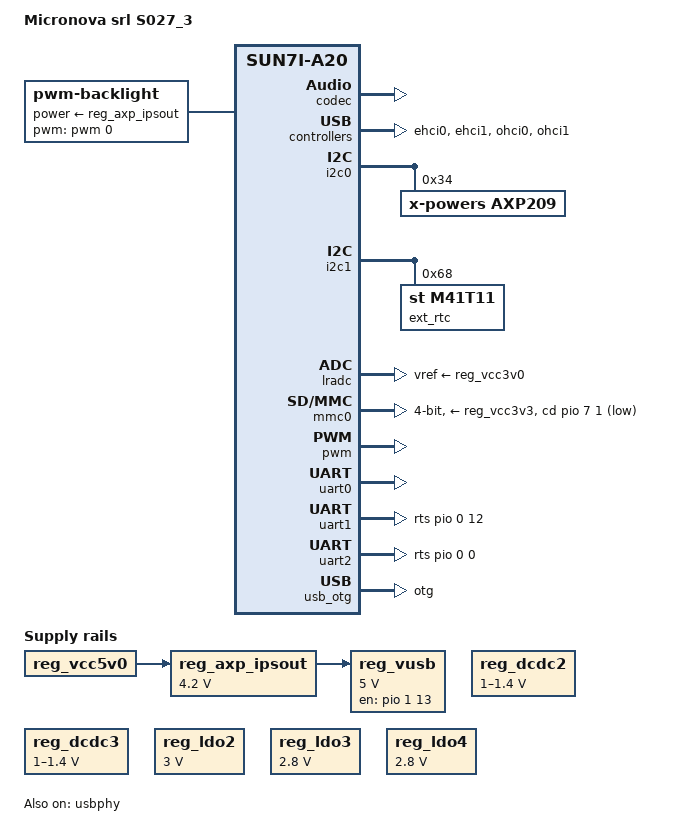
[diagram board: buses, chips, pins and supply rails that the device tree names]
/*
 * Copyright 2021 - Giulio Benetti <giulio.benetti@micronovasrl.com>
 *
 * This file is dual-licensed: you can use it either under the terms
 * of the GPL or the X11 license, at your option. Note that this dual
 * licensing only applies to this file, and not this project as a
 * whole.
 *
 *  a) This file is free software; you can redistribute it and/or
 *     modify it under the terms of the GNU General Public License as
 *     published by the Free Software Foundation; either version 2 of the
 *     License, or (at your option) any later version.
 *
 *     This file is distributed in the hope that it will be useful,
 *     but WITHOUT ANY WARRANTY; without even the implied warranty of
 *     MERCHANTABILITY or FITNESS FOR A PARTICULAR PURPOSE.  See the
 *     GNU General Public License for more details.
 *
 * Or, alternatively,
 *
 *  b) Permission is hereby granted, free of charge, to any person
 *     obtaining a copy of this software and associated documentation
 *     files (the "Software"), to deal in the Software without
 *     restriction, including without limitation the rights to use,
 *     copy, modify, merge, publish, distribute, sublicense, and/or
 *     sell copies of the Software, and to permit persons to whom the
 *     Software is furnished to do so, subject to the following
 *     conditions:
 *
 *     The above copyright notice and this permission notice shall be
 *     included in all copies or substantial portions of the Software.
 *
 *     THE SOFTWARE IS PROVIDED "AS IS", WITHOUT WARRANTY OF ANY KIND,
 *     EXPRESS OR IMPLIED, INCLUDING BUT NOT LIMITED TO THE WARRANTIES
 *     OF MERCHANTABILITY, FITNESS FOR A PARTICULAR PURPOSE AND
 *     NONINFRINGEMENT. IN NO EVENT SHALL THE AUTHORS OR COPYRIGHT
 *     HOLDERS BE LIABLE FOR ANY CLAIM, DAMAGES OR OTHER LIABILITY,
 *     WHETHER IN AN ACTION OF CONTRACT, TORT OR OTHERWISE, ARISING
 *     FROM, OUT OF OR IN CONNECTION WITH THE SOFTWARE OR THE USE OR
 *     OTHER DEALINGS IN THE SOFTWARE.
 */

/dts-v1/;
#include "sun7i-a20.dtsi"
#include "sunxi-common-regulators.dtsi"

#include <dt-bindings/gpio/gpio.h>
#include <dt-bindings/interrupt-controller/irq.h>
#include <dt-bindings/pwm/pwm.h>

/ {
	model = "Micronova srl S027_3";
	compatible = "micronova,a20-s027_3", "allwinner,sun7i-a20";

	aliases {
		serial0 = &uart0;
	};

	backlight: backlight {
		compatible = "pwm-backlight";
		power-supply = <&reg_axp_ipsout>;
		pwms = <&pwm 0 50000 0>;
		brightness-levels = <0 73 76 79 82 85 88 91 94 97 100>;
		default-brightness-level = <8>;
	};

	chosen {
		stdout-path = "serial0:115200n8";
	};

	reg_axp_ipsout: axp-ipsout {
		compatible = "regulator-fixed";
		regulator-name = "axp-ipsout";
		regulator-min-microvolt = <4200000>;
		regulator-max-microvolt = <4200000>;
		regulator-always-on;
		vin-supply = <&reg_vcc5v0>;
	};

	reg_vusb: vusb {
		compatible = "regulator-fixed";
		regulator-name = "vusb";
		regulator-min-microvolt = <5000000>;
		regulator-max-microvolt = <5000000>;
		gpio = <&pio 1 13 GPIO_ACTIVE_HIGH>;
		enable-active-high;
		status = "okay";
		vin-supply = <&reg_axp_ipsout>;
	};
};

&codec {
	status = "okay";
};

&ehci0 {
	status = "okay";
};

&ehci1 {
	status = "okay";
};

&i2c0 {
	pinctrl-names = "default";
	pinctrl-0 = <&i2c0_pins>;
	status = "okay";

	axp209: pmic@34 {
		compatible = "x-powers,axp209";
		reg = <0x34>;
		interrupt-parent = <&nmi_intc>;
		interrupts = <0 IRQ_TYPE_LEVEL_LOW>;

		interrupt-controller;
		#interrupt-cells = <1>;
	};
};

&i2c1 {
	pinctrl-names = "default";
	pinctrl-0 = <&i2c1_pins>;
	status = "okay";

	ext_rtc: ext_rtc@68 {
		compatible = "st,m41t11";
		reg = <0x68>;
	};
};

&lradc {
	vref-supply = <&reg_vcc3v0>;
	status = "okay";
};

&mmc0 {
	pinctrl-names = "default";
	pinctrl-0 = <&mmc0_pins>;
	vmmc-supply = <&reg_vcc3v3>;
	bus-width = <4>;
	cd-gpios = <&pio 7 1 GPIO_ACTIVE_HIGH>; /* PH1 */
	cd-inverted;
	status = "okay";
};

&ohci0 {
	status = "okay";
};

&ohci1 {
	status = "okay";
};

&otg_sram {
	status = "okay";
};

&pio {
	vcc-pa-supply = <&reg_vcc3v3>;
	vcc-pc-supply = <&reg_vcc3v3>;
	vcc-pe-supply = <&reg_ldo3>;
	vcc-pf-supply = <&reg_vcc3v3>;
	vcc-pg-supply = <&reg_ldo4>;
};

&pwm {
	pinctrl-names = "default";
	pinctrl-0 = <&pwm0_pin>, <&pwm1_pin>;
	status = "okay";
};

#include "axp209.dtsi"

&ac_power_supply {
	status = "okay";
};

&reg_dcdc2 {
	regulator-always-on;
	regulator-min-microvolt = <1000000>;
	regulator-max-microvolt = <1400000>;
	regulator-name = "cpu_vdd";
};

&reg_dcdc3 {
	regulator-always-on;
	regulator-min-microvolt = <1000000>;
	regulator-max-microvolt = <1400000>;
	regulator-name = "int_vdd";
};

&reg_ldo1 {
	regulator-always-on;
	regulator-name = "vdd_rtc";
};

&reg_ldo2 {
	regulator-always-on;
	regulator-min-microvolt = <3000000>;
	regulator-max-microvolt = <3000000>;
	regulator-name = "+3v0";
};

&reg_ldo3 {
	regulator-always-on;
	regulator-min-microvolt = <2800000>;
	regulator-max-microvolt = <2800000>;
	regulator-name = "ldo3_2v8";
	regulator-soft-start;
	regulator-ramp-delay = <1600>;
};

&reg_ldo4 {
	regulator-always-on;
	regulator-min-microvolt = <2800000>;
	regulator-max-microvolt = <2800000>;
	regulator-name = "ldo4_2v8";
};

&reg_usb0_vbus {
	vin-supply = <&reg_vusb>;
	gpio = <&pio 7 4 GPIO_ACTIVE_HIGH>; /* PH4 */
	status = "okay";
};

&reg_usb1_vbus {
	vin-supply = <&reg_vusb>;
	gpio = <&pio 7 5 GPIO_ACTIVE_HIGH>; /* PH5 */
	status = "okay";
};

&reg_usb2_vbus {
	vin-supply = <&reg_vusb>;
	gpio = <&pio 7 11 GPIO_ACTIVE_LOW>; /* PH11 */
	enable-active-low;
	status = "okay";
};

&uart0 {
	pinctrl-names = "default";
	pinctrl-0 = <&uart0_pb_pins>;
	status = "okay";
};

&uart1 {
	pinctrl-names = "default";
	pinctrl-0 = <&uart1_pa_pins>;
	status = "okay";
	linux,rs485-enabled-at-boot-time;
	rts-gpios = <&pio 0 12 GPIO_ACTIVE_HIGH>; /* PA12 */
};

&uart2 {
	pinctrl-names = "default";
	pinctrl-0 = <&uart2_pa_pins>;
	status = "okay";
	linux,rs485-enabled-at-boot-time;
	rts-gpios = <&pio 0 0 GPIO_ACTIVE_HIGH>; /* PA0 */
};

&usb_otg {
	dr_mode = "otg";
	status = "okay";
};

&usbphy {
	pinctrl-names = "default";
	usb0_vbus-supply = <&reg_usb0_vbus>;
	usb1_vbus-supply = <&reg_usb1_vbus>;
	usb2_vbus-supply = <&reg_usb2_vbus>;
	status = "okay";
};
